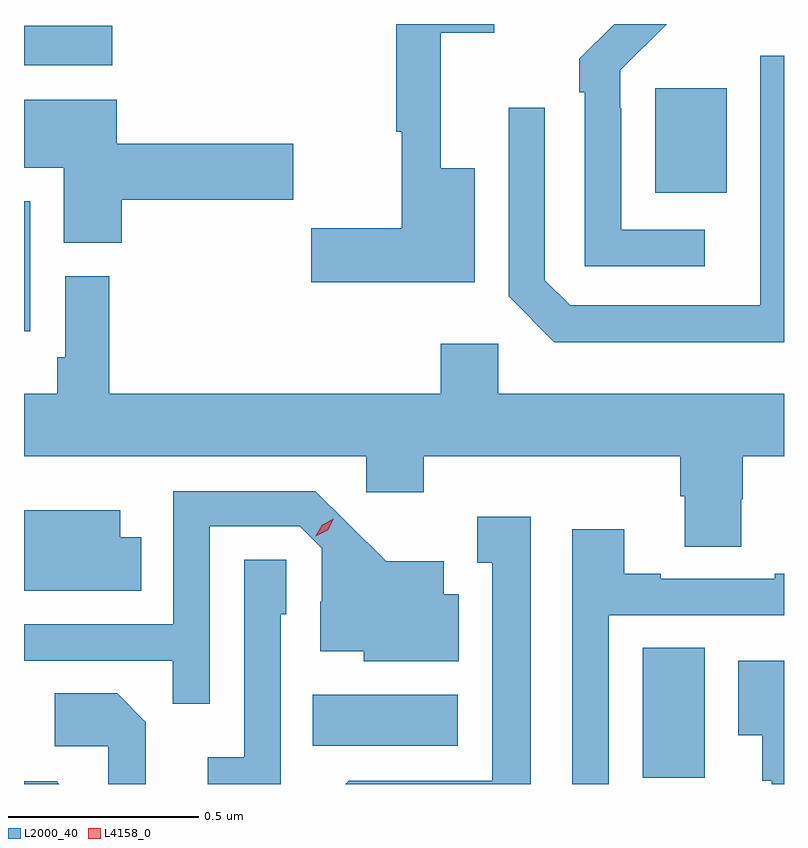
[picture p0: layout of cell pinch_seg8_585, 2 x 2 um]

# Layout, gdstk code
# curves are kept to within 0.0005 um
import gdstk
lib = gdstk.Library(unit=1e-6, precision=1e-09)
def R(c, l, rs):  # rectangles x0, y0, x1, y1
    for r in rs: c.add(gdstk.rectangle(r[:2], r[2:], *l))
def P(c, l, *ps):  # polygons
    for p in ps: c.add(gdstk.Polygon(p, *l))
L2000_40 = (2000, 40)
L4158_0 = (4158, 0)

pinch_seg8_585 = lib.new_cell('pinch_seg8_585')
R(pinch_seg8_585, L2000_40, [(174.422,1112.989,174.586,1113.332), (173.554,1113.074,173.935,1113.208), (172.794,1114.164,172.81,1114.506), (174.455,1114.529,174.643,1114.804), (172.794,1114.865,173.026,1114.969)])
P(pinch_seg8_585, L2000_40, [(174.586,1114.431),(174.366,1114.431),(174.366,1114.751),(174.363,1114.751),(174.363,1114.851),(174.485,1114.973),(174.347,1114.973),(174.255,1114.881),(174.255,1114.793),(174.27,1114.793),(174.27,1114.335),(174.586,1114.335)],
  [(173.98,1114.594),(173.891,1114.594),(173.891,1114.95),(174.031,1114.95),(174.031,1114.973),(173.773,1114.973),(173.773,1114.69),(173.788,1114.69),(173.788,1114.436),(173.55,1114.436),(173.55,1114.294),(173.98,1114.294)],
  [(174.794,1114.89),(174.732,1114.89),(174.732,1114.433),(174.731,1114.433),(174.731,1114.233),(174.231,1114.233),(174.165,1114.299),(174.165,1114.753),(174.069,1114.753),(174.069,1114.257),(174.19,1114.136),(174.794,1114.136)],
  [(173.051,1114.511),(173.503,1114.511),(173.503,1114.658),(173.038,1114.658),(173.038,1114.774),(172.794,1114.774),(172.794,1114.595),(172.898,1114.595),(172.898,1114.398),(173.051,1114.398)],
  [(174.681,1113.723),(174.686,1113.723),(174.686,1113.836),(174.794,1113.836),(174.794,1114),(174.042,1114),(174.042,1114.132),(173.891,1114.132),(173.891,1114),(173.018,1114),(173.018,1114.309),(172.902,1114.309),(172.902,1114.096),(172.882,1114.096),(172.882,1114),(172.794,1114),(172.794,1113.836),(173.694,1113.836),(173.694,1113.741),(173.846,1113.741),(173.846,1113.836),(174.521,1113.836),(174.521,1113.73),(174.533,1113.73),(174.533,1113.598),(174.681,1113.598)],
  [(173.283,1113.651),(173.52,1113.651),(173.577,1113.594),(173.577,1113.452),(173.573,1113.452),(173.573,1113.323),(173.688,1113.323),(173.688,1113.296),(173.938,1113.296),(173.938,1113.472),(173.899,1113.472),(173.899,1113.559),(173.747,1113.559),(173.56,1113.744),(173.187,1113.744),(173.187,1113.393),(172.794,1113.393),(172.794,1113.297),(173.185,1113.297),(173.185,1113.184),(173.283,1113.184)],
  [(173.102,1113.622),(173.047,1113.622),(173.047,1113.694),(172.794,1113.694),(172.794,1113.482),(173.102,1113.482)],
  [(174.127,1113.676),(173.987,1113.676),(173.987,1113.555),(174.026,1113.555),(174.026,1112.982),(173.649,1112.982),(173.64,1112.973),(174.127,1112.973)],
  [(174.333,1113.417),(174.794,1113.417),(174.794,1113.526),(174.769,1113.526),(174.769,1113.513),(174.469,1113.513),(174.469,1113.526),(174.373,1113.526),(174.373,1113.643),(174.237,1113.643),(174.237,1112.973),(174.333,1112.973)],
  [(173.469,1113.42),(173.484,1113.42),(173.484,1113.563),(173.373,1113.563),(173.373,1113.043),(173.277,1113.043),(173.277,1112.973),(173.469,1112.973)],
  [(174.794,1113.298),(174.674,1113.298),(174.674,1113.101),(174.737,1113.101),(174.737,1112.982),(174.762,1112.982),(174.762,1112.973),(174.794,1112.973)],
  [(173.115,1113.136),(173.039,1113.212),(172.875,1113.212),(172.875,1113.072),(173.016,1113.072),(173.016,1112.973),(173.115,1112.973)],
  [(172.88,1112.98),(172.794,1112.98),(172.794,1112.973),(172.887,1112.973)])
P(pinch_seg8_585, L4158_0, [(173.562,1113.625),(173.562,1113.626),(173.579,1113.655),(173.609,1113.671),(173.609,1113.671),(173.609,1113.671),(173.593,1113.641),(173.562,1113.625)])

lib.write_gds('pinch_seg8_585.gds')
